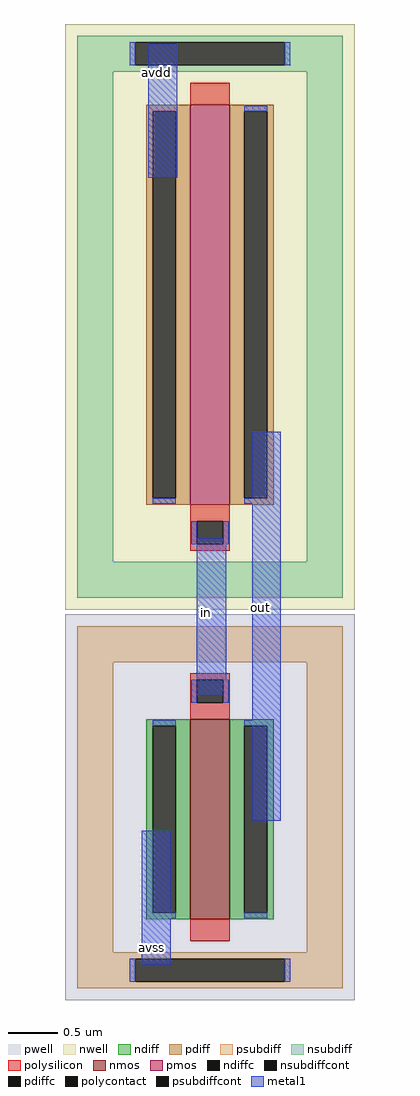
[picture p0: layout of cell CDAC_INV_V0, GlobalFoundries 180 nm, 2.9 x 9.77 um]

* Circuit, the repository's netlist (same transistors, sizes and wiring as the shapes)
** sch_path: /foss/designs/libs/WK_Kadam/CDAC_INV_V0.sch
.subckt CDAC_INV_V0 avdd in out avss
*.PININFO avdd:B avss:B in:B out:B
XM3 out in avss avss nfet_03v3 L=0.4u W=2u nf=1 m=1
XM4 out in avdd avdd pfet_03v3 L=0.4u W=4u nf=1 m=1
.ends

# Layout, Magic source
magic
tech gf180mcuD
magscale 1 10
<< metal1 >>
rect 1129 325 1187 593
rect 1226 -711 1286 -396
rect 1338 -961 1395 -183
rect 1116 -1249 1174 -981
use nfet_03v3_Q7US5R  XM3
transform 1 0 1253 0 1 -934
box -290 -386 290 386
use pfet_03v3_YXHA8C  XM4
transform 1 0 1253 0 1 47
box -290 -586 290 586
<< labels >>
rlabel metal1 1130 -1220 1140 -1210 7 avss
port 3 w
rlabel metal1 1140 530 1150 540 7 avdd
port 0 w
rlabel metal1 1240 -550 1250 -540 7 in
port 1 w
rlabel metal1 1350 -540 1360 -530 7 out
port 2 w
<< end >>

# cell nfet_03v3_Q7US5R: kit device nfet_03v3, w 2.0 l 0.4 m 1 nf 1 diffcov 100 polycov 100 guard 1 glc 0 grc 0 gtc 0 gbc 1 tbcov 100 rlcov 100 topc 1 botc 0 poverlap 0 doverlap 1 lmin 0.28 wmin 0.22 class mosfet full_metal 0 compatible {nfet_03v3 nfet_06v0 nfet_06v0_nvt}

# cell pfet_03v3_YXHA8C: kit device pfet_03v3, w 4.0 l 0.4 m 1 nf 1 diffcov 100 polycov 100 guard 1 glc 0 grc 0 gtc 1 gbc 0 tbcov 100 rlcov 100 topc 0 botc 1 poverlap 0 doverlap 1 lmin 0.28 wmin 0.22 class mosfet full_metal 0 compatible {pfet_03v3 pfet_06v0}
